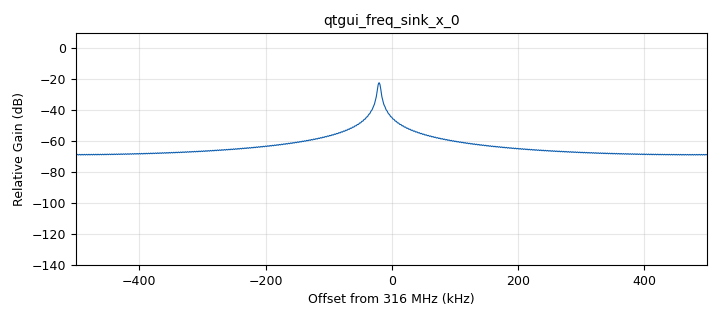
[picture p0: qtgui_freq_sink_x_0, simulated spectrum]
<?xml version='1.0' encoding='utf-8'?>
<?grc format='1' created='3.7.12'?>
<flow_graph>
<block>
<key>options</key>
<param><key>id</key><value>test_execute</value></param>
<param><key>generate_options</key><value>qt_gui</value></param>
</block>
<block>
<key>variable</key>
<param><key>id</key><value>samp_rate</value></param>
<param><key>value</key><value>1e6</value></param>
</block>
<block>
<key>variable</key>
<param><key>id</key><value>samples_per_symbol</value></param>
<param><key>value</key><value>int(samp_rate*symbol_rate)</value></param>
</block>
<block>
<key>variable</key>
<param><key>id</key><value>symbol_rate</value></param>
<param><key>value</key><value>275e-6</value></param>
</block>
<block>
<key>variable</key>
<param><key>id</key><value>target_freq</value></param>
<param><key>value</key><value>314980000</value></param>
</block>
<block>
<key>analog_sig_source_x</key>
<param><key>id</key><value>analog_sig_source_x_0</value></param>
<param><key>amp</key><value>1</value></param>
<param><key>freq</key><value>target_freq</value></param>
<param><key>offset</key><value>0</value></param>
<param><key>type</key><value>complex</value></param>
<param><key>samp_rate</key><value>samp_rate</value></param>
<param><key>waveform</key><value>analog.GR_COS_WAVE</value></param>
</block>
<block>
<key>blocks_file_sink</key>
<param><key>id</key><value>blocks_file_sink_0</value></param>
<param><key>_enabled</key><value>0</value></param>
<param><key>file</key><value>/GH5/test-preview</value></param>
<param><key>type</key><value>complex</value></param>
</block>
<block>
<key>blocks_multiply_xx</key>
<param><key>id</key><value>blocks_multiply_xx_0</value></param>
<param><key>type</key><value>complex</value></param>
</block>
<block>
<key>blocks_patterned_interleaver</key>
<param><key>id</key><value>blocks_patterned_interleaver_0</value></param>
<param><key>type</key><value>complex</value></param>
<param><key>pattern</key><value>[0,0,0,0,0,0,0,0,0,0,0,0,0,0,0,0,0,0,0,0,0,0,0,0,0,0,0,0,1,1,1,1,1,1,1,1,2,2,2,2,2,2,2,2,2,2,2,2,2,2,2,2,2,2,2,2,2,2,2,2,2,2,2,2,2,2,2,2,2,2,2,2,2,2,2,2,2,2,2,2,2,2,2,2,2,2,2,2,2,2,2,2,2,2,2,2,2,2,2,2,2,2,2,2,2,2,2,2,2,2,2,2,2,2,2,2,2,2,2,2,2,2,2,2,2,2,2,2]</value></param>
</block>
<block>
<key>blocks_repeat</key>
<param><key>id</key><value>blocks_repeat_0</value></param>
<param><key>interp</key><value>samples_per_symbol</value></param>
<param><key>type</key><value>complex</value></param>
</block>
<block>
<key>blocks_throttle</key>
<param><key>id</key><value>blocks_throttle_0</value></param>
<param><key>samples_per_second</key><value>samp_rate</value></param>
<param><key>type</key><value>complex</value></param>
</block>
<block>
<key>blocks_vector_source_x</key>
<param><key>id</key><value>blocks_vector_source_x_0</value></param>
<param><key>type</key><value>complex</value></param>
<param><key>repeat</key><value>True</value></param>
<param><key>vector</key><value>(1,0,0,0,1,1,1,0,1,0,0,0,1,0,0,0,1,0,0,0,1,1,1,0,1,1,1,0,1,1,1,0,1,0,0,0,1,1,1,0,1,1,1,0,1,0,0,0,1,0,0,0,1,0,0,0,1,0,0,0,1,0,0,0,1,0,0,0,1,0,0,0,1,0,0,0,1,0,0,0,1,0,0,0,1,1,1,0,1,0,0,0)</value></param>
</block>
<block>
<key>analog_const_source_x</key>
<param><key>id</key><value>gap</value></param>
<param><key>const</key><value>0</value></param>
<param><key>type</key><value>complex</value></param>
</block>
<block>
<key>osmosdr_sink</key>
<param><key>id</key><value>osmosdr_sink_0</value></param>
<param><key>bb_gain0</key><value>20</value></param>
<param><key>freq0</key><value>target_freq</value></param>
<param><key>if_gain0</key><value>20</value></param>
<param><key>gain0</key><value>10</value></param>
<param><key>args</key><value></value></param>
<param><key>type</key><value>fc32</value></param>
<param><key>sample_rate</key><value>samp_rate</value></param>
<param><key>sync</key><value></value></param>
</block>
<block>
<key>blocks_vector_source_x</key>
<param><key>id</key><value>pream</value></param>
<param><key>type</key><value>complex</value></param>
<param><key>repeat</key><value>True</value></param>
<param><key>vector</key><value>(1, 1, 1,0,1,0,0,0)</value></param>
</block>
<block>
<key>qtgui_freq_sink_x</key>
<param><key>id</key><value>qtgui_freq_sink_x_0</value></param>
<param><key>bw</key><value>samp_rate</value></param>
<param><key>fc</key><value>316e6</value></param>
<param><key>fftsize</key><value>1024</value></param>
<param><key>showports</key><value>True</value></param>
<param><key>type</key><value>complex</value></param>
<param><key>wintype</key><value>firdes.WIN_BLACKMAN_hARRIS</value></param>
</block>
<connection><source_block_id>analog_sig_source_x_0</source_block_id><sink_block_id>blocks_multiply_xx_0</sink_block_id><source_key>0</source_key><sink_key>1</sink_key></connection>
<connection><source_block_id>blocks_multiply_xx_0</source_block_id><sink_block_id>blocks_throttle_0</sink_block_id><source_key>0</source_key><sink_key>0</sink_key></connection>
<connection><source_block_id>blocks_multiply_xx_0</source_block_id><sink_block_id>osmosdr_sink_0</sink_block_id><source_key>0</source_key><sink_key>0</sink_key></connection>
<connection><source_block_id>blocks_patterned_interleaver_0</source_block_id><sink_block_id>blocks_repeat_0</sink_block_id><source_key>0</source_key><sink_key>0</sink_key></connection>
<connection><source_block_id>blocks_repeat_0</source_block_id><sink_block_id>blocks_multiply_xx_0</sink_block_id><source_key>0</source_key><sink_key>0</sink_key></connection>
<connection><source_block_id>blocks_throttle_0</source_block_id><sink_block_id>blocks_file_sink_0</sink_block_id><source_key>0</source_key><sink_key>0</sink_key></connection>
<connection><source_block_id>blocks_throttle_0</source_block_id><sink_block_id>qtgui_freq_sink_x_0</sink_block_id><source_key>0</source_key><sink_key>0</sink_key></connection>
<connection><source_block_id>blocks_vector_source_x_0</source_block_id><sink_block_id>blocks_patterned_interleaver_0</sink_block_id><source_key>0</source_key><sink_key>2</sink_key></connection>
<connection><source_block_id>gap</source_block_id><sink_block_id>blocks_patterned_interleaver_0</sink_block_id><source_key>0</source_key><sink_key>0</sink_key></connection>
<connection><source_block_id>pream</source_block_id><sink_block_id>blocks_patterned_interleaver_0</sink_block_id><source_key>0</source_key><sink_key>1</sink_key></connection>
</flow_graph>
